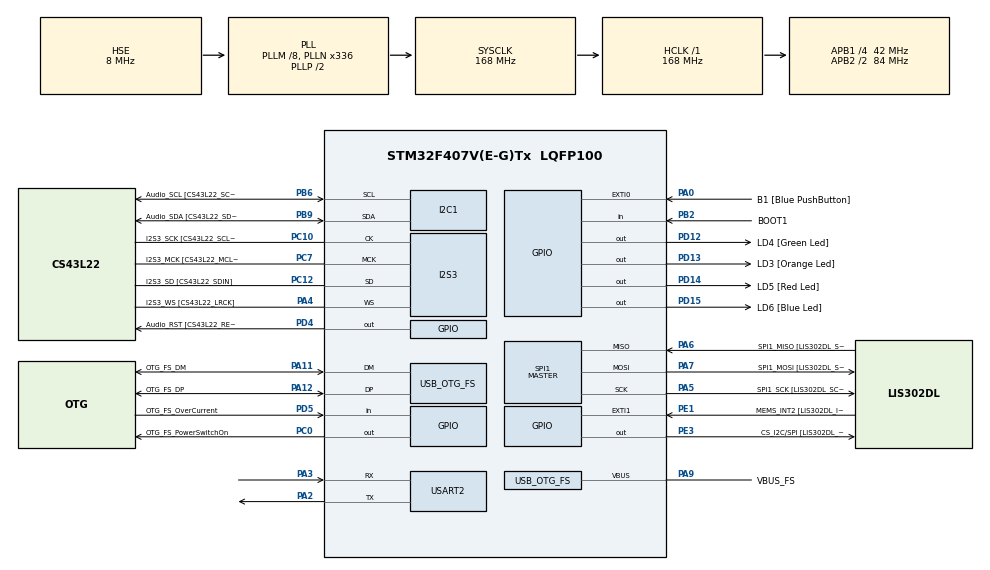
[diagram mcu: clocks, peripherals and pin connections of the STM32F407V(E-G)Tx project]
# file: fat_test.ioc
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I2S3.AudioFreq-Half_Duplex_Master=I2S_AUDIOFREQ_96K
I2S3.ErrorAudioFreq=-2.34 %
I2S3.ErrorAudioFreq-Half_Duplex_Master=0.8 %
I2S3.FullDuplexMode=I2S_FULLDUPLEXMODE_DISABLE
I2S3.Instance=SPI$Index
I2S3.RealAudioFreq=93.75 KHz
I2S3.RealAudioFreq-Half_Duplex_Master=96.774 KHz
I2S3.VirtualMode=I2S_MODE_MASTER
Mcu.Family=STM32F4
Mcu.Name=STM32F407V(E-G)Tx
Mcu.Package=LQFP100
NVIC.OTG_FS_IRQn=true\:0\:0\:false\:false\:true\:true\:true
NVIC.PriorityGroup=NVIC_PRIORITYGROUP_0
PA0-WKUP.GPIO_Label=B1 [Blue PushButton]
PA0-WKUP.GPIO_ModeDefaultEXTI=GPIO_MODE_EVT_RISING
PA0-WKUP.GPIO_PuPd=GPIO_NOPULL
PA0-WKUP.Signal=GPXTI0
PA10.GPIO_Label=OTG_FS_ID
PA10.GPIO_Mode=GPIO_MODE_AF_PP
PA10.GPIO_PuPd=GPIO_NOPULL
PA10.GPIO_Speed=GPIO_SPEED_FREQ_LOW
PA10.Signal=USB_OTG_FS_ID
PA11.GPIO_Label=OTG_FS_DM
PA11.GPIO_Mode=GPIO_MODE_AF_PP
PA11.GPIO_PuPd=GPIO_NOPULL
PA11.GPIO_Speed=GPIO_SPEED_FREQ_LOW
PA11.Mode=Host_Only
PA11.Signal=USB_OTG_FS_DM
PA12.GPIO_Label=OTG_FS_DP
PA12.GPIO_Mode=GPIO_MODE_AF_PP
PA12.GPIO_PuPd=GPIO_NOPULL
PA12.GPIO_Speed=GPIO_SPEED_FREQ_LOW
PA12.Mode=Host_Only
PA12.Signal=USB_OTG_FS_DP
PA13.GPIO_Label=SWDIO
PA13.Mode=Serial_Wire
PA13.Signal=SYS_JTMS-SWDIO
PA14.GPIO_Label=SWCLK
PA14.Mode=Serial_Wire
PA14.Signal=SYS_JTCK-SWCLK
PA2.Mode=Asynchronous
PA2.Signal=USART2_TX
PA3.Mode=Asynchronous
PA3.Signal=USART2_RX
PA4.GPIO_Label=I2S3_WS [CS43L22_LRCK]
PA4.GPIO_Mode=GPIO_MODE_AF_PP
PA4.GPIO_PuPd=GPIO_NOPULL
PA4.GPIO_Speed=GPIO_SPEED_FREQ_LOW
PA4.Mode=Half_Duplex_Master
PA4.Signal=I2S3_WS
PA5.GPIO_Label=SPI1_SCK [LIS302DL_SCL/SPC]
PA5.GPIO_Mode=GPIO_MODE_AF_PP
PA5.GPIO_PuPd=GPIO_NOPULL
PA5.GPIO_Speed=GPIO_SPEED_FREQ_LOW
PA5.Mode=Full_Duplex_Master
PA5.Signal=SPI1_SCK
PA6.GPIO_Label=SPI1_MISO [LIS302DL_SDO]
PA6.GPIO_Mode=GPIO_MODE_AF_PP
PA6.GPIO_PuPd=GPIO_NOPULL
PA6.GPIO_Speed=GPIO_SPEED_FREQ_LOW
PA6.Mode=Full_Duplex_Master
PA6.Signal=SPI1_MISO
PA7.GPIO_Label=SPI1_MOSI [LIS302DL_SDA/SDI/SDO]
PA7.GPIO_Mode=GPIO_MODE_AF_PP
PA7.GPIO_PuPd=GPIO_NOPULL
PA7.GPIO_Speed=GPIO_SPEED_FREQ_LOW
PA7.Mode=Full_Duplex_Master
PA7.Signal=SPI1_MOSI
PA9.GPIO_Label=VBUS_FS
PA9.GPIO_Mode=GPIO_MODE_INPUT
PA9.GPIO_PuPd=GPIO_NOPULL
PA9.Mode=Activate_VBUS
PA9.Signal=USB_OTG_FS_VBUS
PB10.GPIO_Label=CLK_IN [MP45DT02_CLK]
PB10.GPIO_Mode=GPIO_MODE_AF_PP
PB10.GPIO_PuPd=GPIO_NOPULL
PB10.GPIO_Speed=GPIO_SPEED_FREQ_LOW
PB10.Signal=I2S2_CK
PB2.GPIO_Label=BOOT1
PB2.GPIO_Mode=GPIO_MODE_INPUT
PB2.GPIO_PuPd=GPIO_NOPULL
PB2.Signal=GPIO_Input
PB3.GPIO_Label=SWO
PB3.Signal=SYS_JTDO-SWO
PB6.GPIO_Label=Audio_SCL [CS43L22_SCL]
PB6.GPIO_Mode=GPIO_MODE_AF_OD
PB6.GPIO_PuPd=GPIO_NOPULL
PB6.GPIO_Speed=GPIO_SPEED_FREQ_LOW
PB6.Mode=I2C
PB6.Signal=I2C1_SCL
PB9.GPIO_Label=Audio_SDA [CS43L22_SDA]
PB9.GPIO_Mode=GPIO_MODE_AF_OD
PB9.GPIO_PuPd=GPIO_NOPULL
PB9.GPIO_Speed=GPIO_SPEED_FREQ_LOW
PB9.Mode=I2C
PB9.Signal=I2C1_SDA
PC0.GPIO_Label=OTG_FS_PowerSwitchOn
PC0.GPIO_PuPd=GPIO_NOPULL
PC0.GPIO_Speed=GPIO_SPEED_FREQ_LOW
PC0.PinState=GPIO_PIN_SET
PC0.Signal=GPIO_Output
PC10.GPIO_Label=I2S3_SCK [CS43L22_SCLK]
PC10.GPIO_Mode=GPIO_MODE_AF_PP
PC10.GPIO_PuPd=GPIO_NOPULL
PC10.GPIO_Speed=GPIO_SPEED_FREQ_LOW
PC10.Mode=Half_Duplex_Master
PC10.Signal=I2S3_CK
PC12.GPIO_Label=I2S3_SD [CS43L22_SDIN]
PC12.GPIO_Mode=GPIO_MODE_AF_PP
PC12.GPIO_PuPd=GPIO_NOPULL
PC12.GPIO_Speed=GPIO_SPEED_FREQ_LOW
PC12.Mode=Half_Duplex_Master
PC12.Signal=I2S3_SD
PC14-OSC32_IN.GPIO_Label=PC14-OSC32_IN
PC14-OSC32_IN.Mode=LSE-External-Oscillator
PC14-OSC32_IN.Signal=RCC_OSC32_IN
PC15-OSC32_OUT.GPIO_Label=PC15-OSC32_OUT
PC15-OSC32_OUT.Mode=LSE-External-Oscillator
PC15-OSC32_OUT.Signal=RCC_OSC32_OUT
PC3.GPIO_Label=PDM_OUT [MP45DT02_DOUT]
PC3.GPIO_Mode=GPIO_MODE_AF_PP
PC3.GPIO_PuPd=GPIO_NOPULL
PC3.GPIO_Speed=GPIO_SPEED_FREQ_LOW
PC3.Signal=I2S2_SD
PC7.GPIO_Label=I2S3_MCK [CS43L22_MCLK]
PC7.GPIO_Mode=GPIO_MODE_AF_PP
PC7.GPIO_PuPd=GPIO_NOPULL
PC7.GPIO_Speed=GPIO_SPEED_FREQ_LOW
PC7.Mode=Master_Clock_Activated
PC7.Signal=I2S3_MCK
PD12.GPIO_Label=LD4 [Green Led]
PD12.GPIO_PuPd=GPIO_NOPULL
PD12.GPIO_Speed=GPIO_SPEED_FREQ_LOW
PD12.Signal=GPIO_Output
PD13.GPIO_Label=LD3 [Orange Led]
PD13.GPIO_PuPd=GPIO_NOPULL
PD13.GPIO_Speed=GPIO_SPEED_FREQ_LOW
PD13.Signal=GPIO_Output
PD14.GPIO_Label=LD5 [Red Led]
PD14.GPIO_PuPd=GPIO_NOPULL
PD14.GPIO_Speed=GPIO_SPEED_FREQ_LOW
PD14.Signal=GPIO_Output
PD15.GPIO_Label=LD6 [Blue Led]
PD15.GPIO_PuPd=GPIO_NOPULL
PD15.GPIO_Speed=GPIO_SPEED_FREQ_LOW
PD15.Signal=GPIO_Output
PD4.GPIO_Label=Audio_RST [CS43L22_RESET]
PD4.GPIO_PuPd=GPIO_NOPULL
PD4.GPIO_Speed=GPIO_SPEED_FREQ_LOW
PD4.Signal=GPIO_Output
PD5.GPIO_Label=OTG_FS_OverCurrent
PD5.GPIO_Mode=GPIO_MODE_INPUT
PD5.GPIO_PuPd=GPIO_NOPULL
PD5.Signal=GPIO_Input
PE1.GPIO_Label=MEMS_INT2 [LIS302DL_INT2]
PE1.GPIO_ModeDefaultEXTI=GPIO_MODE_EVT_RISING
PE1.GPIO_PuPd=GPIO_NOPULL
PE1.Signal=GPXTI1
PE3.GPIO_Label=CS_I2C/SPI [LIS302DL_CS_I2C/SPI]
PE3.GPIO_PuPd=GPIO_NOPULL
PE3.GPIO_Speed=GPIO_SPEED_FREQ_LOW
PE3.Signal=GPIO_Output
PH0-OSC_IN.GPIO_Label=PH0-OSC_IN
PH0-OSC_IN.Mode=HSE-External-Oscillator
PH0-OSC_IN.Signal=RCC_OSC_IN
PH1-OSC_OUT.GPIO_Label=PH1-OSC_OUT
PH1-OSC_OUT.Mode=HSE-External-Oscillator
PH1-OSC_OUT.Signal=RCC_OSC_OUT
ProjectManager.HeapSize=0x200
ProjectManager.StackSize=0x400
ProjectManager.TargetToolchain=STM32CubeIDE
RCC.48MHZClocksFreq_Value=48000000
RCC.AHBFreq_Value=168000000
RCC.APB1CLKDivider=RCC_HCLK_DIV4
RCC.APB1Freq_Value=42000000
RCC.APB1TimFreq_Value=84000000
RCC.APB2CLKDivider=RCC_HCLK_DIV2
RCC.APB2Freq_Value=84000000
RCC.APB2TimFreq_Value=168000000
RCC.CortexFreq_Value=168000000
RCC.HCLKFreq_Value=168000000
RCC.HSE_VALUE=8000000
RCC.HSI_VALUE=16000000
RCC.PLLM=8
RCC.PLLN=336
RCC.PLLQ=7
RCC.SYSCLKFreq_VALUE=168000000
RCC.SYSCLKSource=RCC_SYSCLKSOURCE_PLLCLK
RCC.VCOOutputFreq_Value=336000000
SPI1.BaudRatePrescaler-Full_Duplex_Master=SPI_BAUDRATEPRESCALER_2
SPI1.CalculateBaudRate-Full_Duplex_Master=42.0 MBits/s
SPI1.Direction=SPI_DIRECTION_2LINES
SPI1.Mode=SPI_MODE_MASTER
SPI1.Mode-Full_Duplex_Master=SPI_MODE_MASTER
SPI1.VirtualType=VM_MASTER
USART2.VirtualMode=VM_ASYNC
USB_HOST.BSP.number=1
USB_HOST.USBH_HandleTypeDef-CDC_FS=hUsbHostFS
USB_HOST.VirtualModeFS=Cdc
USB_HOST0.BSP.STBoard=false
USB_HOST0.BSP.api=Unknown
USB_HOST0.BSP.i2caddr=0
USB_HOST0.BSP.i2creg=0
USB_HOST0.BSP.instance=PC0
USB_HOST0.BSP.ip=GPIO
USB_HOST0.BSP.mode=Output
USB_HOST0.BSP.name=Drive_VBUS_FS
USB_HOST0.BSP.solution=PC0
USB_OTG_FS.VirtualMode=Host_Only
USB_OTG_FS.phy_itface=HCD_PHY_EMBEDDED
VP_USB_HOST_VS_USB_HOST_CDC_FS.Mode=CDC_FS
board=STM32F407G-DISC1

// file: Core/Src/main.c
/* USER CODE BEGIN Header */
/**
  ******************************************************************************
  * @file           : main.c
  * @brief          : Main program body
  ******************************************************************************
  * @attention
  *
  * <h2><center>&copy; Copyright (c) 2021 STMicroelectronics.
  * All rights reserved.</center></h2>
  *
  * This software component is licensed by ST under Ultimate Liberty license
  * SLA0044, the "License"; You may not use this file except in compliance with
  * the License. You may obtain a copy of the License at:
  *                             www.st.com/SLA0044
  *
  ******************************************************************************
  */
/* USER CODE END Header */
#include "main.h"
#include "usb_host.h"

/* USER CODE BEGIN Includes */
#include "fatfs.h"
#include "fops.h"
#include "spi.h"
/* USER CODE END Includes */

I2C_HandleTypeDef hi2c1;

I2S_HandleTypeDef hi2s3;

SPI_HandleTypeDef hspi1;

UART_HandleTypeDef huart2;

/* USER CODE BEGIN PV */
//#include "stdio.h"

#ifdef __GNUC__
#define PUTCHAR_PROTOTYPE int __io_putchar(int ch)
#else
#define PUTCHAR_PROTOTYPE int fputc(int ch, FILE *f)
#endif
PUTCHAR_PROTOTYPE
{
HAL_UART_Transmit(&huart2 , (uint8_t *)&ch, 1, 0xFFFF);
return ch;
}
/* USER CODE END PV */

void SystemClock_Config(void);
static void MX_GPIO_Init(void);
static void MX_I2C1_Init(void);
static void MX_I2S3_Init(void);
void MX_SPI1_Init(void);
static void MX_USART2_UART_Init(void);
void MX_USB_HOST_Process(void);

int main(void)
{

  /* MCU Configuration--------------------------------------------------------*/

  /* Reset of all peripherals, Initializes the Flash interface and the Systick. */
  HAL_Init();

  /* Configure the system clock */
  SystemClock_Config();

  /* Initialize all configured peripherals */
  MX_GPIO_Init();
  MX_I2C1_Init();
  MX_I2S3_Init();
  MX_SPI1_Init();
  MX_USB_HOST_Init();
  MX_USART2_UART_Init();
  /* USER CODE BEGIN 2 */

  MX_FATFS_Init();
  exf_mount();
  exf_getfree();
  FATFS_RdWrTest();

  f_mkdir("wy");
  char filename[3]="gg";
  exf_open( (void*)filename, 'w' );

  while(1)
  {
	  HAL_GPIO_TogglePin(LD4_GPIO_Port, LD4_Pin);			// �Ƶ�
	  HAL_Delay(1000);
  }

  /* USER CODE END 2 */

  /* Infinite loop */
  while (1)
  {
    MX_USB_HOST_Process();

  }
}

void SystemClock_Config(void)
{
  RCC_OscInitTypeDef RCC_OscInitStruct = {0};
  RCC_ClkInitTypeDef RCC_ClkInitStruct = {0};
  RCC_PeriphCLKInitTypeDef PeriphClkInitStruct = {0};

  /** Configure the main internal regulator output voltage
  */
  __HAL_RCC_PWR_CLK_ENABLE();
  __HAL_PWR_VOLTAGESCALING_CONFIG(PWR_REGULATOR_VOLTAGE_SCALE1);
  /** Initializes the RCC Oscillators according to the specified parameters
  * in the RCC_OscInitTypeDef structure.
  */
  RCC_OscInitStruct.OscillatorType = RCC_OSCILLATORTYPE_HSE;
  RCC_OscInitStruct.HSEState = RCC_HSE_ON;
  RCC_OscInitStruct.PLL.PLLState = RCC_PLL_ON;
  RCC_OscInitStruct.PLL.PLLSource = RCC_PLLSOURCE_HSE;
  RCC_OscInitStruct.PLL.PLLM = 8;
  RCC_OscInitStruct.PLL.PLLN = 336;
  RCC_OscInitStruct.PLL.PLLP = RCC_PLLP_DIV2;
  RCC_OscInitStruct.PLL.PLLQ = 7;
  if (HAL_RCC_OscConfig(&RCC_OscInitStruct) != HAL_OK)
  {
    Error_Handler();
  }
  /** Initializes the CPU, AHB and APB buses clocks
  */
  RCC_ClkInitStruct.ClockType = RCC_CLOCKTYPE_HCLK|RCC_CLOCKTYPE_SYSCLK
                              |RCC_CLOCKTYPE_PCLK1|RCC_CLOCKTYPE_PCLK2;
  RCC_ClkInitStruct.SYSCLKSource = RCC_SYSCLKSOURCE_PLLCLK;
  RCC_ClkInitStruct.AHBCLKDivider = RCC_SYSCLK_DIV1;
  RCC_ClkInitStruct.APB1CLKDivider = RCC_HCLK_DIV4;
  RCC_ClkInitStruct.APB2CLKDivider = RCC_HCLK_DIV2;

  if (HAL_RCC_ClockConfig(&RCC_ClkInitStruct, FLASH_LATENCY_5) != HAL_OK)
  {
    Error_Handler();
  }
  PeriphClkInitStruct.PeriphClockSelection = RCC_PERIPHCLK_I2S;
  PeriphClkInitStruct.PLLI2S.PLLI2SN = 192;
  PeriphClkInitStruct.PLLI2S.PLLI2SR = 2;
  if (HAL_RCCEx_PeriphCLKConfig(&PeriphClkInitStruct) != HAL_OK)
  {
    Error_Handler();
  }
}

static void MX_I2C1_Init(void)
{

  hi2c1.Instance = I2C1;
  hi2c1.Init.ClockSpeed = 100000;
  hi2c1.Init.DutyCycle = I2C_DUTYCYCLE_2;
  hi2c1.Init.OwnAddress1 = 0;
  hi2c1.Init.AddressingMode = I2C_ADDRESSINGMODE_7BIT;
  hi2c1.Init.DualAddressMode = I2C_DUALADDRESS_DISABLE;
  hi2c1.Init.OwnAddress2 = 0;
  hi2c1.Init.GeneralCallMode = I2C_GENERALCALL_DISABLE;
  hi2c1.Init.NoStretchMode = I2C_NOSTRETCH_DISABLE;
  if (HAL_I2C_Init(&hi2c1) != HAL_OK)
  {
    Error_Handler();
  }

}

void MX_I2S3_Init(void)
{

  hi2s3.Instance = SPI3;
  hi2s3.Init.Mode = I2S_MODE_MASTER_TX;
  hi2s3.Init.Standard = I2S_STANDARD_PHILIPS;
  hi2s3.Init.DataFormat = I2S_DATAFORMAT_16B;
  hi2s3.Init.MCLKOutput = I2S_MCLKOUTPUT_ENABLE;
  hi2s3.Init.AudioFreq = I2S_AUDIOFREQ_96K;
  hi2s3.Init.CPOL = I2S_CPOL_LOW;
  hi2s3.Init.ClockSource = I2S_CLOCK_PLL;
  hi2s3.Init.FullDuplexMode = I2S_FULLDUPLEXMODE_DISABLE;
  if (HAL_I2S_Init(&hi2s3) != HAL_OK)
  {
    Error_Handler();
  }

}

void MX_SPI1_Init(void)
{

  /* SPI1 parameter configuration*/
  hspi1.Instance = SPI1;
  hspi1.Init.Mode = SPI_MODE_MASTER;
  hspi1.Init.Direction = SPI_DIRECTION_2LINES;
  hspi1.Init.DataSize = SPI_DATASIZE_8BIT;
  hspi1.Init.CLKPolarity = SPI_POLARITY_LOW;
  hspi1.Init.CLKPhase = SPI_PHASE_1EDGE;
  hspi1.Init.NSS = SPI_NSS_SOFT;
  hspi1.Init.BaudRatePrescaler = SPI_BAUDRATEPRESCALER_2;
  hspi1.Init.FirstBit = SPI_FIRSTBIT_MSB;
  hspi1.Init.TIMode = SPI_TIMODE_DISABLE;
  hspi1.Init.CRCCalculation = SPI_CRCCALCULATION_DISABLE;
  hspi1.Init.CRCPolynomial = 10;
  if (HAL_SPI_Init(&hspi1) != HAL_OK)
  {
    Error_Handler();
  }

}

static void MX_USART2_UART_Init(void)
{

  huart2.Instance = USART2;
  huart2.Init.BaudRate = 115200;
  huart2.Init.WordLength = UART_WORDLENGTH_8B;
  huart2.Init.StopBits = UART_STOPBITS_1;
  huart2.Init.Parity = UART_PARITY_NONE;
  huart2.Init.Mode = UART_MODE_TX_RX;
  huart2.Init.HwFlowCtl = UART_HWCONTROL_NONE;
  huart2.Init.OverSampling = UART_OVERSAMPLING_16;
  if (HAL_UART_Init(&huart2) != HAL_OK)
  {
    Error_Handler();
  }

}

static void MX_GPIO_Init(void)
{
  GPIO_InitTypeDef GPIO_InitStruct = {0};

  /* GPIO Ports Clock Enable */
  __HAL_RCC_GPIOE_CLK_ENABLE();
  __HAL_RCC_GPIOC_CLK_ENABLE();
  __HAL_RCC_GPIOH_CLK_ENABLE();
  __HAL_RCC_GPIOA_CLK_ENABLE();
  __HAL_RCC_GPIOB_CLK_ENABLE();
  __HAL_RCC_GPIOD_CLK_ENABLE();

  /*Configure GPIO pin Output Level */
  HAL_GPIO_WritePin(CS_I2C_SPI_GPIO_Port, CS_I2C_SPI_Pin, GPIO_PIN_RESET);

  /*Configure GPIO pin Output Level */
  HAL_GPIO_WritePin(OTG_FS_PowerSwitchOn_GPIO_Port, OTG_FS_PowerSwitchOn_Pin, GPIO_PIN_SET);

  /*Configure GPIO pin Output Level */
  HAL_GPIO_WritePin(GPIOD, LD4_Pin|LD3_Pin|LD5_Pin|LD6_Pin
                          |Audio_RST_Pin, GPIO_PIN_RESET);

  /*Configure GPIO pin : CS_I2C_SPI_Pin */
  GPIO_InitStruct.Pin = CS_I2C_SPI_Pin;
  GPIO_InitStruct.Mode = GPIO_MODE_OUTPUT_PP;
  GPIO_InitStruct.Pull = GPIO_NOPULL;
  GPIO_InitStruct.Speed = GPIO_SPEED_FREQ_LOW;
  HAL_GPIO_Init(CS_I2C_SPI_GPIO_Port, &GPIO_InitStruct);

  /*Configure GPIO pin : OTG_FS_PowerSwitchOn_Pin */
  GPIO_InitStruct.Pin = OTG_FS_PowerSwitchOn_Pin;
  GPIO_InitStruct.Mode = GPIO_MODE_OUTPUT_PP;
  GPIO_InitStruct.Pull = GPIO_NOPULL;
  GPIO_InitStruct.Speed = GPIO_SPEED_FREQ_LOW;
  HAL_GPIO_Init(OTG_FS_PowerSwitchOn_GPIO_Port, &GPIO_InitStruct);

  /*Configure GPIO pin : PDM_OUT_Pin */
  GPIO_InitStruct.Pin = PDM_OUT_Pin;
  GPIO_InitStruct.Mode = GPIO_MODE_AF_PP;
  GPIO_InitStruct.Pull = GPIO_NOPULL;
  GPIO_InitStruct.Speed = GPIO_SPEED_FREQ_LOW;
  GPIO_InitStruct.Alternate = GPIO_AF5_SPI2;
  HAL_GPIO_Init(PDM_OUT_GPIO_Port, &GPIO_InitStruct);

  /*Configure GPIO pin : B1_Pin */
  GPIO_InitStruct.Pin = B1_Pin;
  GPIO_InitStruct.Mode = GPIO_MODE_EVT_RISING;
  GPIO_InitStruct.Pull = GPIO_NOPULL;
  HAL_GPIO_Init(B1_GPIO_Port, &GPIO_InitStruct);

  /*Configure GPIO pin : BOOT1_Pin */
  GPIO_InitStruct.Pin = BOOT1_Pin;
  GPIO_InitStruct.Mode = GPIO_MODE_INPUT;
  GPIO_InitStruct.Pull = GPIO_NOPULL;
  HAL_GPIO_Init(BOOT1_GPIO_Port, &GPIO_InitStruct);

  /*Configure GPIO pin : CLK_IN_Pin */
  GPIO_InitStruct.Pin = CLK_IN_Pin;
  GPIO_InitStruct.Mode = GPIO_MODE_AF_PP;
  GPIO_InitStruct.Pull = GPIO_NOPULL;
  GPIO_InitStruct.Speed = GPIO_SPEED_FREQ_LOW;
  GPIO_InitStruct.Alternate = GPIO_AF5_SPI2;
  HAL_GPIO_Init(CLK_IN_GPIO_Port, &GPIO_InitStruct);

  /*Configure GPIO pins : LD4_Pin LD3_Pin LD5_Pin LD6_Pin
                           Audio_RST_Pin */
  GPIO_InitStruct.Pin = LD4_Pin|LD3_Pin|LD5_Pin|LD6_Pin
                          |Audio_RST_Pin;
  GPIO_InitStruct.Mode = GPIO_MODE_OUTPUT_PP;
  GPIO_InitStruct.Pull = GPIO_NOPULL;
  GPIO_InitStruct.Speed = GPIO_SPEED_FREQ_LOW;
  HAL_GPIO_Init(GPIOD, &GPIO_InitStruct);

  /*Configure GPIO pin : OTG_FS_OverCurrent_Pin */
  GPIO_InitStruct.Pin = OTG_FS_OverCurrent_Pin;
  GPIO_InitStruct.Mode = GPIO_MODE_INPUT;
  GPIO_InitStruct.Pull = GPIO_NOPULL;
  HAL_GPIO_Init(OTG_FS_OverCurrent_GPIO_Port, &GPIO_InitStruct);

  /*Configure GPIO pin : MEMS_INT2_Pin */
  GPIO_InitStruct.Pin = MEMS_INT2_Pin;
  GPIO_InitStruct.Mode = GPIO_MODE_EVT_RISING;
  GPIO_InitStruct.Pull = GPIO_NOPULL;
  HAL_GPIO_Init(MEMS_INT2_GPIO_Port, &GPIO_InitStruct);

}

void Error_Handler(void)
{
  __disable_irq();
  while (1)
  {
  }
}

/************************ (C) COPYRIGHT STMicroelectronics *****END OF FILE****/
